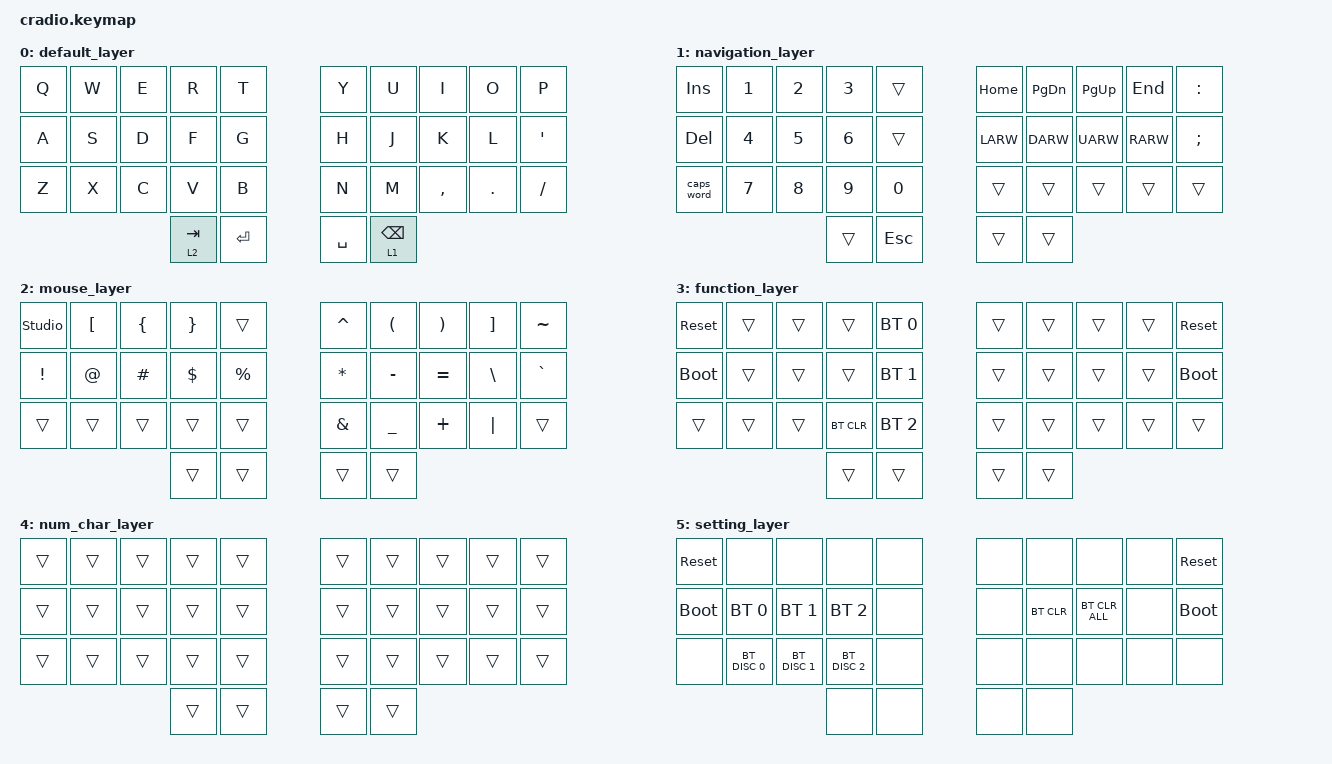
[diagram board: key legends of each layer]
// Copyright (c) 2022 The ZMK Contributors
// SPDX-License-Identifier: MIT

#define ZMK_POINTING_DEFAULT_MOVE_VAL 1500  // default: 600
#define ZMK_POINTING_DEFAULT_SCRL_VAL 20    // default: 10

#include <behaviors.dtsi>
#include <dt-bindings/zmk/bt.h>
#include <dt-bindings/zmk/keys.h>

/ {
    behaviors {
        ht: hold_tap {
            compatible = "zmk,behavior-hold-tap";
            #binding-cells = <2>;
            flavor = "tap-preferred";
            tapping-term-ms = <220>;
            quick-tap-ms = <150>;
            require-prior-idle-ms = <100>;
            bindings = <&kp>, <&kp>;
        };
    };

    conditional_layers { compatible = "zmk,conditional-layers"; };

    keymap {
        compatible = "zmk,keymap";

        default_layer {
            bindings = <
&kp Q  &kp W  &kp E  &kp R      &kp T        &kp Y      &kp U       &kp I      &kp O    &kp P
&kp A  &kp S  &kp D  &kp F      &kp G        &kp H      &kp J       &kp K      &kp L    &kp SQT
&kp Z  &kp X  &kp C  &kp V      &kp B        &kp N      &kp M       &kp COMMA  &kp DOT  &kp FSLH
                     &lt 2 TAB  &kp ENTER    &kp SPACE  &lt 1 BSPC
            >;
        };

        navigation_layer {
            bindings = <
&kp INS     &kp N1  &kp N2  &kp N3  &trans     &kp HOME  &kp PG_DN  &kp PG_UP  &kp END   &kp COLON
&kp DEL     &kp N4  &kp N5  &kp N6  &trans     &kp LARW  &kp DARW   &kp UARW   &kp RARW  &kp SEMI
&caps_word  &kp N7  &kp N8  &kp N9  &kp N0     &trans    &trans     &trans     &trans    &trans
                            &trans  &kp ESC    &trans    &trans
            >;
        };

        mouse_layer {
            bindings = <
&studio_unlock  &kp LBKT  &kp LBRC  &kp RBRC  &trans       &kp CARET  &kp LPAR   &kp RPAR   &kp RBKT  &kp TILDE
&kp EXCL        &kp AT    &kp HASH  &kp DLLR  &kp PRCNT    &kp ASTRK  &kp MINUS  &kp EQUAL  &kp BSLH  &kp GRAVE
&trans          &trans    &trans    &trans    &trans       &kp AMPS   &kp UNDER  &kp PLUS   &kp PIPE  &trans
                                    &trans    &trans       &trans     &trans
            >;
        };

        function_layer {
            bindings = <
&sys_reset   &trans  &trans  &trans      &bt BT_SEL 0    &trans  &trans  &trans  &trans  &sys_reset
&bootloader  &trans  &trans  &trans      &bt BT_SEL 1    &trans  &trans  &trans  &trans  &bootloader
&trans       &trans  &trans  &bt BT_CLR  &bt BT_SEL 2    &trans  &trans  &trans  &trans  &trans
                             &trans      &trans          &trans  &trans
            >;
        };

        num_char_layer {
            bindings = <
&trans  &trans  &trans  &trans  &trans    &trans  &trans  &trans  &trans  &trans
&trans  &trans  &trans  &trans  &trans    &trans  &trans  &trans  &trans  &trans
&trans  &trans  &trans  &trans  &trans    &trans  &trans  &trans  &trans  &trans
                        &trans  &trans    &trans  &trans
            >;
        };

        setting_layer {
            bindings = <
&sys_reset   &none          &none          &none          &none    &none  &none       &none           &none  &sys_reset
&bootloader  &bt BT_SEL 0   &bt BT_SEL 1   &bt BT_SEL 2   &none    &none  &bt BT_CLR  &bt BT_CLR_ALL  &none  &bootloader
&none        &bt BT_DISC 0  &bt BT_DISC 1  &bt BT_DISC 2  &none    &none  &none       &none           &none  &none
                                           &none          &none    &none  &none
            >;
        };
    };
};
